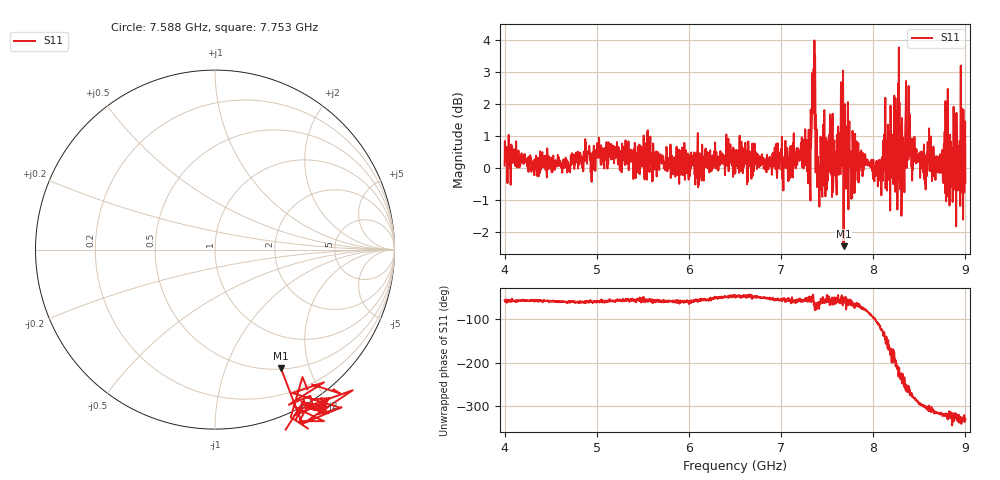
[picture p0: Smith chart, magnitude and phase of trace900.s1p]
! Created with skrf 1.8.0 (http://scikit-rf.org).
# Hz S RI R 50.0
!freq ReS11 ImS11
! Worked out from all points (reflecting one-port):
!   1601 points, 4 GHz to 9 GHz, reference 50 ohm
!   lowest |S11| = -2.4 dB at 7.678 GHz (marker M1), VSWR 7.14, Z = 25.8 - j78.9 ohm
!   phase of S11 starts at -57 deg and turns -271 deg over the sweep
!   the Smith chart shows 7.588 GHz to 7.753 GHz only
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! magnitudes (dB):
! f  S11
! 4 GHz  0.1
! 4.625 GHz  -0.2
! 5.25 GHz  -0.1
! 5.875 GHz  0.0
! 6.5 GHz  0.2
! 7.125 GHz  0.4
! 7.294 GHz  -0.5
! 7.316 GHz  -0.7
! 7.347 GHz  2.9
! 7.369 GHz  3.5
! 7.4 GHz  0.3
! 7.428 GHz  1.0
! 7.534 GHz  1.4
! 7.588 GHz  0.5
! 7.65 GHz  2.7
! 7.678 GHz  -2.4
! 7.75 GHz  0.2
! 8.066 GHz  0.2
! 8.141 GHz  0.9
! 8.228 GHz  2.3
! 8.278 GHz  3.8
! 8.316 GHz  0.8
! 8.375 GHz  0.6
! 8.556 GHz  -0.4
! 8.788 GHz  -0.3
! 8.875 GHz  0.1
! 8.956 GHz  -0.1
! 9 GHz  -0.5
